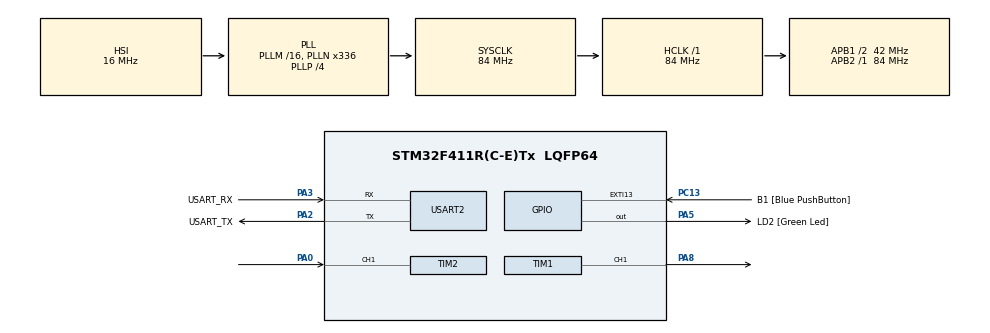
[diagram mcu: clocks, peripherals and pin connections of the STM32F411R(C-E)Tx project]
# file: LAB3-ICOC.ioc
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Dma.Request0=TIM2_CH1
Dma.TIM2_CH1.0.Direction=DMA_PERIPH_TO_MEMORY
Dma.TIM2_CH1.0.FIFOMode=DMA_FIFOMODE_DISABLE
Dma.TIM2_CH1.0.Instance=DMA1_Stream5
Dma.TIM2_CH1.0.MemDataAlignment=DMA_MDATAALIGN_WORD
Dma.TIM2_CH1.0.MemInc=DMA_MINC_ENABLE
Dma.TIM2_CH1.0.Mode=DMA_CIRCULAR
Dma.TIM2_CH1.0.PeriphDataAlignment=DMA_PDATAALIGN_WORD
Dma.TIM2_CH1.0.PeriphInc=DMA_PINC_DISABLE
Dma.TIM2_CH1.0.Priority=DMA_PRIORITY_LOW
Mcu.Family=STM32F4
Mcu.Name=STM32F411R(C-E)Tx
Mcu.Package=LQFP64
NVIC.DMA1_Stream5_IRQn=true\:0\:0\:false\:false\:true\:false\:true\:true
NVIC.PriorityGroup=NVIC_PRIORITYGROUP_0
PA0-WKUP.Signal=S_TIM2_CH1_ETR
PA13.GPIO_Label=TMS
PA13.Mode=Serial_Wire
PA13.Signal=SYS_JTMS-SWDIO
PA14.GPIO_Label=TCK
PA14.Mode=Serial_Wire
PA14.Signal=SYS_JTCK-SWCLK
PA2.GPIO_Label=USART_TX
PA2.Mode=Asynchronous
PA2.Signal=USART2_TX
PA3.GPIO_Label=USART_RX
PA3.Mode=Asynchronous
PA3.Signal=USART2_RX
PA5.GPIO_Label=LD2 [Green Led]
PA5.Signal=GPIO_Output
PA8.Signal=S_TIM1_CH1
PB3.GPIO_Label=SWO
PB3.Signal=SYS_JTDO-SWO
PC13-ANTI_TAMP.GPIO_Label=B1 [Blue PushButton]
PC13-ANTI_TAMP.GPIO_ModeDefaultEXTI=GPIO_MODE_IT_FALLING
PC13-ANTI_TAMP.Signal=GPXTI13
PC14-OSC32_IN.Mode=LSE-External-Oscillator
PC14-OSC32_IN.Signal=RCC_OSC32_IN
PC15-OSC32_OUT.Mode=LSE-External-Oscillator
PC15-OSC32_OUT.Signal=RCC_OSC32_OUT
PH0\ -\ OSC_IN.Mode=HSE-External-Clock-Source
PH0\ -\ OSC_IN.Signal=RCC_OSC_IN
PH1\ -\ OSC_OUT.Mode=HSE-External-Clock-Source
PH1\ -\ OSC_OUT.Signal=RCC_OSC_OUT
ProjectManager.HeapSize=0x200
ProjectManager.StackSize=0x400
ProjectManager.TargetToolchain=STM32CubeIDE
RCC.48MHZClocksFreq_Value=84000000
RCC.AHBFreq_Value=84000000
RCC.APB1CLKDivider=RCC_HCLK_DIV2
RCC.APB1Freq_Value=42000000
RCC.APB1TimFreq_Value=84000000
RCC.APB2Freq_Value=84000000
RCC.APB2TimFreq_Value=84000000
RCC.CortexFreq_Value=84000000
RCC.FLatency-AdvancedSettings=FLASH_LATENCY_2
RCC.HCLKFreq_Value=84000000
RCC.HSE_VALUE=8000000
RCC.HSI_VALUE=16000000
RCC.PLLN=336
RCC.PLLP=RCC_PLLP_DIV4
RCC.SYSCLKFreq_VALUE=84000000
RCC.SYSCLKSource=RCC_SYSCLKSOURCE_PLLCLK
RCC.VCOOutputFreq_Value=336000000
SH.S_TIM1_CH1.0=TIM1_CH1,PWM Generation1 CH1
SH.S_TIM2_CH1_ETR.0=TIM2_CH1,Input_Capture1_from_TI1
TIM1.Channel-PWM\ Generation1\ CH1=TIM_CHANNEL_1
TIM1.Period=999
TIM1.Prescaler=83
TIM1.Pulse-PWM\ Generation1\ CH1=500
TIM2.Channel-Input_Capture1_from_TI1=TIM_CHANNEL_1
TIM2.Prescaler=83
USART2.VirtualMode=VM_ASYNC
VP_TIM1_VS_ClockSourceINT.Mode=Internal
VP_TIM2_VS_ClockSourceINT.Mode=Internal
board=NUCLEO-F411RE

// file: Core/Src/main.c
/* USER CODE BEGIN Header */
/**
 ******************************************************************************
 * @file           : main.c
 * @brief          : Main program body
 ******************************************************************************
 * @attention
 *
 * Copyright (c) 2023 STMicroelectronics.
 * All rights reserved.
 *
 * This software is licensed under terms that can be found in the LICENSE file
 * in the root directory of this software component.
 * If no LICENSE file comes with this software, it is provided AS-IS.
 *
 ******************************************************************************
 */
/* USER CODE END Header */
#include "main.h"

/* USER CODE BEGIN Includes */
#define IC_BUFFER_SIZE 20
/* USER CODE END Includes */

TIM_HandleTypeDef htim1;
TIM_HandleTypeDef htim2;
DMA_HandleTypeDef hdma_tim2_ch1;

UART_HandleTypeDef huart2;

/* USER CODE BEGIN PV */
//variable for adjust pwm in percent
uint16_t MotorSetDuty = 0;

//variable for store speed of motor in rpm
uint64_t MotorReadRPM = 0;

//variable for mode set
uint8_t MotorControlEnable = 0;

//variable for cal width of pulse in us
uint32_t InputCaptureBuffer[IC_BUFFER_SIZE];
float averageRisingedgePeriod;

//variable for setting RPM
uint8_t MotorSetRPM = 0;

/* USER CODE END PV */

void SystemClock_Config(void);
static void MX_GPIO_Init(void);
static void MX_DMA_Init(void);
static void MX_USART2_UART_Init(void);
static void MX_TIM1_Init(void);
static void MX_TIM2_Init(void);
/* USER CODE BEGIN PFP */
//call input capture width of signal function
float IC_Calc_Period();

/* USER CODE END PFP */

int main(void) {

	/* MCU Configuration--------------------------------------------------------*/

	/* Reset of all peripherals, Initializes the Flash interface and the Systick. */
	HAL_Init();

	/* Configure the system clock */
	SystemClock_Config();

	/* Initialize all configured peripherals */
	MX_GPIO_Init();
	MX_DMA_Init();
	MX_USART2_UART_Init();
	MX_TIM1_Init();
	MX_TIM2_Init();
	/* USER CODE BEGIN 2 */
	//start timer2 and InputCapture
	HAL_TIM_Base_Start(&htim2);
	HAL_TIM_IC_Start_DMA(&htim2, TIM_CHANNEL_1, InputCaptureBuffer,
			IC_BUFFER_SIZE);

	//start timer1 and PWM
	HAL_TIM_Base_Start(&htim1); //start counting time
	HAL_TIM_PWM_Start(&htim1, TIM_CHANNEL_1); //start PWM

	/* USER CODE END 2 */

	/* Infinite loop */
	while (1) {

		/* USER CODE BEGIN 3 */
		//constant function call every 500 ms
		static uint32_t timestamp = 0;
		if (HAL_GetTick() >= timestamp) {
			timestamp = HAL_GetTick() + 75;
			averageRisingedgePeriod = IC_Calc_Period();

			if (MotorControlEnable) {
				if(MotorReadRPM > MotorSetRPM){
					MotorSetDuty -= 1;
				}
				else if(MotorReadRPM < MotorSetRPM){
					MotorSetDuty += 1;
				}

				__HAL_TIM_SET_COMPARE(&htim1, TIM_CHANNEL_1, MotorSetDuty * 10);

			} else {
				//gen PWM
				if(MotorSetDuty == 0){
					averageRisingedgePeriod = 0;
					__HAL_TIM_SET_COMPARE(&htim1, TIM_CHANNEL_1, 0);
				}
				else{
					__HAL_TIM_SET_COMPARE(&htim1, TIM_CHANNEL_1, MotorSetDuty * 10);
				}
			}

			//cal RPM from width of pulse of 1 encoder
			if(MotorSetDuty == 0){
				MotorReadRPM = 0;
			}
			else{
				MotorReadRPM = (60 * 1000000) / (64 * 12 * averageRisingedgePeriod);
			}
		}
	}
	/* USER CODE END 3 */
}

void SystemClock_Config(void) {
	RCC_OscInitTypeDef RCC_OscInitStruct = { 0 };
	RCC_ClkInitTypeDef RCC_ClkInitStruct = { 0 };

	/** Configure the main internal regulator output voltage
	 */
	__HAL_RCC_PWR_CLK_ENABLE();
	__HAL_PWR_VOLTAGESCALING_CONFIG(PWR_REGULATOR_VOLTAGE_SCALE1);

	/** Initializes the RCC Oscillators according to the specified parameters
	 * in the RCC_OscInitTypeDef structure.
	 */
	RCC_OscInitStruct.OscillatorType = RCC_OSCILLATORTYPE_HSI;
	RCC_OscInitStruct.HSIState = RCC_HSI_ON;
	RCC_OscInitStruct.HSICalibrationValue = RCC_HSICALIBRATION_DEFAULT;
	RCC_OscInitStruct.PLL.PLLState = RCC_PLL_ON;
	RCC_OscInitStruct.PLL.PLLSource = RCC_PLLSOURCE_HSI;
	RCC_OscInitStruct.PLL.PLLM = 16;
	RCC_OscInitStruct.PLL.PLLN = 336;
	RCC_OscInitStruct.PLL.PLLP = RCC_PLLP_DIV4;
	RCC_OscInitStruct.PLL.PLLQ = 4;
	if (HAL_RCC_OscConfig(&RCC_OscInitStruct) != HAL_OK) {
		Error_Handler();
	}

	/** Initializes the CPU, AHB and APB buses clocks
	 */
	RCC_ClkInitStruct.ClockType = RCC_CLOCKTYPE_HCLK | RCC_CLOCKTYPE_SYSCLK
			| RCC_CLOCKTYPE_PCLK1 | RCC_CLOCKTYPE_PCLK2;
	RCC_ClkInitStruct.SYSCLKSource = RCC_SYSCLKSOURCE_PLLCLK;
	RCC_ClkInitStruct.AHBCLKDivider = RCC_SYSCLK_DIV1;
	RCC_ClkInitStruct.APB1CLKDivider = RCC_HCLK_DIV2;
	RCC_ClkInitStruct.APB2CLKDivider = RCC_HCLK_DIV1;

	if (HAL_RCC_ClockConfig(&RCC_ClkInitStruct, FLASH_LATENCY_2) != HAL_OK) {
		Error_Handler();
	}
}

static void MX_TIM1_Init(void) {

	TIM_ClockConfigTypeDef sClockSourceConfig = { 0 };
	TIM_MasterConfigTypeDef sMasterConfig = { 0 };
	TIM_OC_InitTypeDef sConfigOC = { 0 };
	TIM_BreakDeadTimeConfigTypeDef sBreakDeadTimeConfig = { 0 };

	htim1.Instance = TIM1;
	htim1.Init.Prescaler = 83;
	htim1.Init.CounterMode = TIM_COUNTERMODE_UP;
	htim1.Init.Period = 999;
	htim1.Init.ClockDivision = TIM_CLOCKDIVISION_DIV1;
	htim1.Init.RepetitionCounter = 0;
	htim1.Init.AutoReloadPreload = TIM_AUTORELOAD_PRELOAD_DISABLE;
	if (HAL_TIM_Base_Init(&htim1) != HAL_OK) {
		Error_Handler();
	}
	sClockSourceConfig.ClockSource = TIM_CLOCKSOURCE_INTERNAL;
	if (HAL_TIM_ConfigClockSource(&htim1, &sClockSourceConfig) != HAL_OK) {
		Error_Handler();
	}
	if (HAL_TIM_PWM_Init(&htim1) != HAL_OK) {
		Error_Handler();
	}
	sMasterConfig.MasterOutputTrigger = TIM_TRGO_RESET;
	sMasterConfig.MasterSlaveMode = TIM_MASTERSLAVEMODE_DISABLE;
	if (HAL_TIMEx_MasterConfigSynchronization(&htim1, &sMasterConfig)
			!= HAL_OK) {
		Error_Handler();
	}
	sConfigOC.OCMode = TIM_OCMODE_PWM1;
	sConfigOC.Pulse = 500;
	sConfigOC.OCPolarity = TIM_OCPOLARITY_HIGH;
	sConfigOC.OCNPolarity = TIM_OCNPOLARITY_HIGH;
	sConfigOC.OCFastMode = TIM_OCFAST_DISABLE;
	sConfigOC.OCIdleState = TIM_OCIDLESTATE_RESET;
	sConfigOC.OCNIdleState = TIM_OCNIDLESTATE_RESET;
	if (HAL_TIM_PWM_ConfigChannel(&htim1, &sConfigOC, TIM_CHANNEL_1)
			!= HAL_OK) {
		Error_Handler();
	}
	sBreakDeadTimeConfig.OffStateRunMode = TIM_OSSR_DISABLE;
	sBreakDeadTimeConfig.OffStateIDLEMode = TIM_OSSI_DISABLE;
	sBreakDeadTimeConfig.LockLevel = TIM_LOCKLEVEL_OFF;
	sBreakDeadTimeConfig.DeadTime = 0;
	sBreakDeadTimeConfig.BreakState = TIM_BREAK_DISABLE;
	sBreakDeadTimeConfig.BreakPolarity = TIM_BREAKPOLARITY_HIGH;
	sBreakDeadTimeConfig.AutomaticOutput = TIM_AUTOMATICOUTPUT_DISABLE;
	if (HAL_TIMEx_ConfigBreakDeadTime(&htim1, &sBreakDeadTimeConfig)
			!= HAL_OK) {
		Error_Handler();
	}
	HAL_TIM_MspPostInit(&htim1);

}

static void MX_TIM2_Init(void) {

	TIM_ClockConfigTypeDef sClockSourceConfig = { 0 };
	TIM_MasterConfigTypeDef sMasterConfig = { 0 };
	TIM_IC_InitTypeDef sConfigIC = { 0 };

	htim2.Instance = TIM2;
	htim2.Init.Prescaler = 83;
	htim2.Init.CounterMode = TIM_COUNTERMODE_UP;
	htim2.Init.Period = 4294967295;
	htim2.Init.ClockDivision = TIM_CLOCKDIVISION_DIV1;
	htim2.Init.AutoReloadPreload = TIM_AUTORELOAD_PRELOAD_DISABLE;
	if (HAL_TIM_Base_Init(&htim2) != HAL_OK) {
		Error_Handler();
	}
	sClockSourceConfig.ClockSource = TIM_CLOCKSOURCE_INTERNAL;
	if (HAL_TIM_ConfigClockSource(&htim2, &sClockSourceConfig) != HAL_OK) {
		Error_Handler();
	}
	if (HAL_TIM_IC_Init(&htim2) != HAL_OK) {
		Error_Handler();
	}
	sMasterConfig.MasterOutputTrigger = TIM_TRGO_RESET;
	sMasterConfig.MasterSlaveMode = TIM_MASTERSLAVEMODE_DISABLE;
	if (HAL_TIMEx_MasterConfigSynchronization(&htim2, &sMasterConfig)
			!= HAL_OK) {
		Error_Handler();
	}
	sConfigIC.ICPolarity = TIM_INPUTCHANNELPOLARITY_RISING;
	sConfigIC.ICSelection = TIM_ICSELECTION_DIRECTTI;
	sConfigIC.ICPrescaler = TIM_ICPSC_DIV1;
	sConfigIC.ICFilter = 0;
	if (HAL_TIM_IC_ConfigChannel(&htim2, &sConfigIC, TIM_CHANNEL_1) != HAL_OK) {
		Error_Handler();
	}

}

static void MX_USART2_UART_Init(void) {

	huart2.Instance = USART2;
	huart2.Init.BaudRate = 115200;
	huart2.Init.WordLength = UART_WORDLENGTH_8B;
	huart2.Init.StopBits = UART_STOPBITS_1;
	huart2.Init.Parity = UART_PARITY_NONE;
	huart2.Init.Mode = UART_MODE_TX_RX;
	huart2.Init.HwFlowCtl = UART_HWCONTROL_NONE;
	huart2.Init.OverSampling = UART_OVERSAMPLING_16;
	if (HAL_UART_Init(&huart2) != HAL_OK) {
		Error_Handler();
	}

}

static void MX_DMA_Init(void) {

	/* DMA controller clock enable */
	__HAL_RCC_DMA1_CLK_ENABLE();

	/* DMA interrupt init */
	/* DMA1_Stream5_IRQn interrupt configuration */
	HAL_NVIC_SetPriority(DMA1_Stream5_IRQn, 0, 0);
	HAL_NVIC_EnableIRQ(DMA1_Stream5_IRQn);

}

static void MX_GPIO_Init(void) {
	GPIO_InitTypeDef GPIO_InitStruct = { 0 };

	/* GPIO Ports Clock Enable */
	__HAL_RCC_GPIOC_CLK_ENABLE();
	__HAL_RCC_GPIOH_CLK_ENABLE();
	__HAL_RCC_GPIOA_CLK_ENABLE();
	__HAL_RCC_GPIOB_CLK_ENABLE();

	/*Configure GPIO pin Output Level */
	HAL_GPIO_WritePin(LD2_GPIO_Port, LD2_Pin, GPIO_PIN_RESET);

	/*Configure GPIO pin : B1_Pin */
	GPIO_InitStruct.Pin = B1_Pin;
	GPIO_InitStruct.Mode = GPIO_MODE_IT_FALLING;
	GPIO_InitStruct.Pull = GPIO_NOPULL;
	HAL_GPIO_Init(B1_GPIO_Port, &GPIO_InitStruct);

	/*Configure GPIO pin : LD2_Pin */
	GPIO_InitStruct.Pin = LD2_Pin;
	GPIO_InitStruct.Mode = GPIO_MODE_OUTPUT_PP;
	GPIO_InitStruct.Pull = GPIO_NOPULL;
	GPIO_InitStruct.Speed = GPIO_SPEED_FREQ_LOW;
	HAL_GPIO_Init(LD2_GPIO_Port, &GPIO_InitStruct);

}

/* USER CODE BEGIN 4 */
float IC_Calc_Period(){
	uint32_t currentDMAPointer = IC_BUFFER_SIZE - __HAL_DMA_GET_COUNTER((htim2.hdma[1]));
	uint32_t lastValidDMAPointer = (currentDMAPointer-1 + IC_BUFFER_SIZE) % IC_BUFFER_SIZE;
	uint32_t i = (lastValidDMAPointer + IC_BUFFER_SIZE - 6) % IC_BUFFER_SIZE;

	int32_t sumdiff = 0;
	while(i != lastValidDMAPointer){
		uint32_t firstCapture = InputCaptureBuffer[i];

		uint32_t NextCapture = InputCaptureBuffer[(i+1)%IC_BUFFER_SIZE];
		sumdiff += NextCapture - firstCapture;
		i = (i+1) % IC_BUFFER_SIZE;
	}

	return sumdiff / 5.0;
}

/* USER CODE END 4 */

void Error_Handler(void) {
	__disable_irq();
	while (1) {
	}
}
